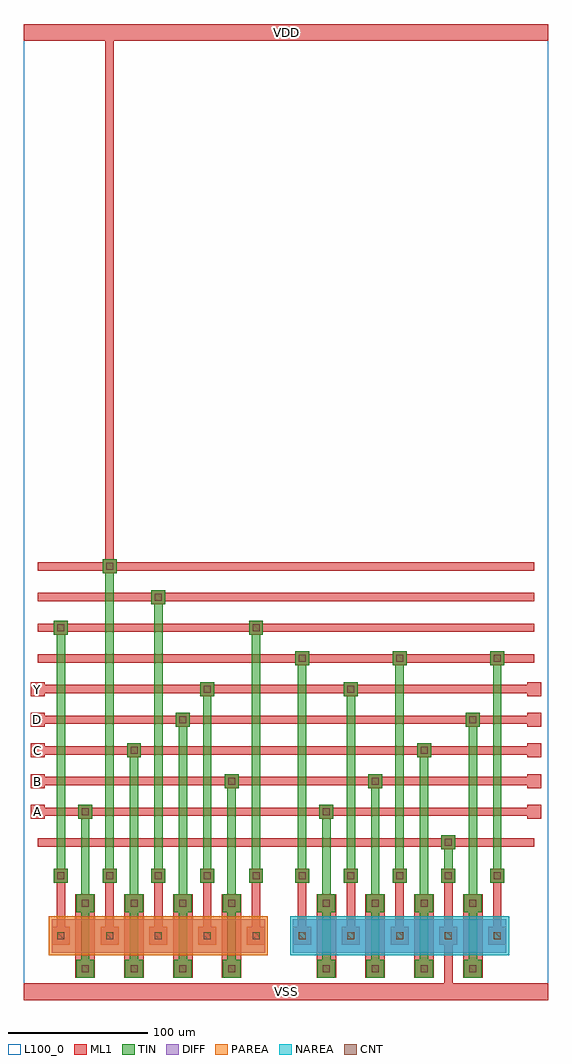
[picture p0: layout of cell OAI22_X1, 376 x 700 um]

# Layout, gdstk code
import gdstk
lib = gdstk.Library(unit=1e-6, precision=1e-09)
def R(c, l, rs):  # rectangles x0, y0, x1, y1
    for r in rs: c.add(gdstk.rectangle(r[:2], r[2:], *l))
def A(c, l, x, y, w, h, nx, ny, dx, dy):  # array of equal rectangles
    R(c, l, [(x+i*dx, y+j*dy, x+i*dx+w, y+j*dy+h) for i in range(nx) for j in range(ny)])
DIFF = (3, 0)
TIN = (5, 0)
CNT = (7, 0)
ML1 = (8, 0)
PAREA = (18, 0)
NAREA = (19, 0)
L100_0 = (100, 0)

oai22_x1 = lib.new_cell('OAI22_X1')
R(oai22_x1, DIFF, [(20,34,173,58), (193,34,346,58)])
A(oai22_x1, TIN, 37.5, 16, 13, 13, 4, 2, 35, 47)
A(oai22_x1, TIN, 210.5, 16, 13, 13, 4, 2, 35, 47)
A(oai22_x1, TIN, 41, 28, 6, 37.5, 4, 1, 35, 0)
A(oai22_x1, TIN, 214, 28, 6, 37.5, 4, 1, 35, 0)
A(oai22_x1, TIN, 21.5, 84, 10, 10, 5, 1, 35, 0)
A(oai22_x1, TIN, 194.5, 84, 10, 10, 5, 1, 35, 0)
A(oai22_x1, TIN, 196.5, 89, 6, 156, 3, 1, 70, 0)
A(oai22_x1, TIN, 194.5, 240, 10, 10, 3, 1, 70, 0)
R(oai22_x1, TIN, [(41,69.5,47,135), (76,69.5,82,179), (111,69.5,117,201), (146,69.5,152,157), (214,69.5,220,135), (249,69.5,255,157), (284,69.5,290,179), (319,69.5,325,201), (23.5,89,29.5,267), (58.5,89,64.5,311), (93.5,89,99.5,289), (128.5,89,134.5,223), (163.5,89,169.5,267), (231.5,89,237.5,223), (301.5,89,307.5,113), (299.5,108,309.5,118), (39,130,49,140), (212,130,222,140), (144,152,154,162), (247,152,257,162), (74,174,84,184), (282,174,292,184), (109,196,119,206), (317,196,327,206), (126.5,218,136.5,228), (229.5,218,239.5,228), (21.5,262,31.5,272), (161.5,262,171.5,272), (91.5,284,101.5,294), (56.5,306,66.5,316)])
A(oai22_x1, CNT, 41.5, 20, 5, 5, 4, 2, 35, 47)
A(oai22_x1, CNT, 214.5, 20, 5, 5, 4, 2, 35, 47)
A(oai22_x1, CNT, 24, 43.5, 5, 5, 5, 2, 35, 43)
A(oai22_x1, CNT, 197, 43.5, 5, 5, 5, 2, 35, 43)
A(oai22_x1, CNT, 197, 242.5, 5, 5, 3, 1, 70, 0)
R(oai22_x1, CNT, [(302,110.5,307,115.5), (41.5,132.5,46.5,137.5), (214.5,132.5,219.5,137.5), (146.5,154.5,151.5,159.5), (249.5,154.5,254.5,159.5), (76.5,176.5,81.5,181.5), (284.5,176.5,289.5,181.5), (111.5,198.5,116.5,203.5), (319.5,198.5,324.5,203.5), (129,220.5,134,225.5), (232,220.5,237,225.5), (24,264.5,29,269.5), (164,264.5,169,269.5), (94,286.5,99,291.5), (59,308.5,64,313.5)])
A(oai22_x1, ML1, 37, 16, 14, 60, 4, 1, 35, 0)
A(oai22_x1, ML1, 37.5, 16, 13, 13, 4, 2, 35, 47)
A(oai22_x1, ML1, 210, 16, 14, 60, 4, 1, 35, 0)
A(oai22_x1, ML1, 210.5, 16, 13, 13, 4, 2, 35, 47)
A(oai22_x1, ML1, 20, 39.5, 13, 13, 5, 1, 35, 0)
A(oai22_x1, ML1, 193, 39.5, 13, 13, 5, 1, 35, 0)
A(oai22_x1, ML1, 23.5, 46, 6, 43, 5, 1, 35, 0)
A(oai22_x1, ML1, 196.5, 46, 6, 43, 5, 1, 35, 0)
A(oai22_x1, ML1, 21.5, 84, 10, 10, 5, 1, 35, 0)
A(oai22_x1, ML1, 194.5, 84, 10, 10, 5, 1, 35, 0)
A(oai22_x1, ML1, 10, 110, 356, 6, 1, 10, 0, 22)
A(oai22_x1, ML1, 5, 130, 10, 10, 1, 5, 0, 22)
A(oai22_x1, ML1, 361, 130, 10, 10, 1, 5, 0, 22)
A(oai22_x1, ML1, 194.5, 240, 10, 10, 3, 1, 70, 0)
R(oai22_x1, ML1, [(0,0,376,12), (301.5,3,307.5,92), (299.5,108,309.5,118), (39,130,49,140), (212,130,222,140), (144,152,154,162), (247,152,257,162), (74,174,84,184), (282,174,292,184), (109,196,119,206), (317,196,327,206), (126.5,218,136.5,228), (229.5,218,239.5,228), (21.5,262,31.5,272), (161.5,262,171.5,272), (91.5,284,101.5,294), (56.5,306,66.5,316), (58.5,308,64.5,697), (0,688,376,700)])
R(oai22_x1, PAREA, [(18,32,175,60)])
R(oai22_x1, NAREA, [(191,32,348,60)])
R(oai22_x1, L100_0, [(0,0,376,700)])
oai22_x1.add(gdstk.Label('A', (10,135), layer=13, texttype=0))
oai22_x1.add(gdstk.Label('B', (10,157), layer=13, texttype=0))
oai22_x1.add(gdstk.Label('C', (10,179), layer=13, texttype=0))
oai22_x1.add(gdstk.Label('D', (10,201), layer=13, texttype=0))
oai22_x1.add(gdstk.Label('Y', (10,223), layer=13, texttype=0))
oai22_x1.add(gdstk.Label('VDD', (188,694), layer=13, texttype=0))
oai22_x1.add(gdstk.Label('VSS', (188,6), layer=13, texttype=0))

lib.write_gds('OAI22_X1.gds')
